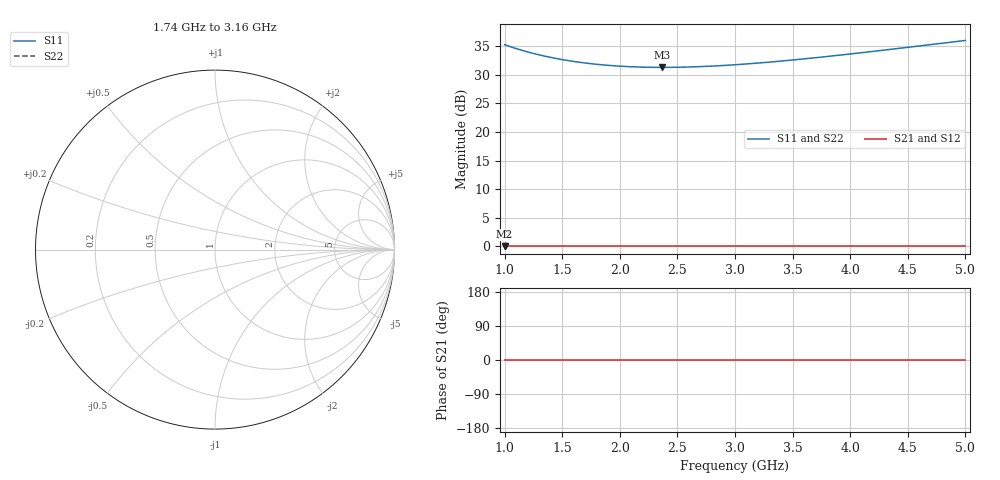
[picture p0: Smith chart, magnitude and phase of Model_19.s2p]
# GHZ S RI R 50
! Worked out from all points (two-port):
!   401 points, 1 GHz to 5 GHz, reference 50 ohm
!   highest |S21| = 0.00 dB at 1 GHz (marker M1); lowest = 0.0 dB at 1 GHz (marker M2)
!   |S21| within 3 dB of the highest: start of sweep to end of sweep
!   lowest |S11| = 31.3 dB at 2.37 GHz (marker M3)
!   |S11| at or under -10 dB: nowhere
!   |S22| runs from 31.3 to 36.0 dB; largest |S21 - S12| = 0
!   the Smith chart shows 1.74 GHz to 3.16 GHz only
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1  58.15 0  1 0  1 0  58.15 0
1.02  57.2 0  1 0  1 0  57.2 0
1.15  51.91 0  1 0  1 0  51.91 0
1.22  49.61 0  1 0  1 0  49.61 0
1.3  47.35 0  1 0  1 0  47.35 0
1.38  45.42 0  1 0  1 0  45.42 0
1.47  43.59 0  1 0  1 0  43.59 0
1.57  41.9 0  1 0  1 0  41.9 0
1.67  40.53 0  1 0  1 0  40.53 0
1.82  38.96 0  1 0  1 0  38.96 0
1.98  37.82 0  1 0  1 0  37.82 0
2.15  37.1 0  1 0  1 0  37.1 0
2.34  36.79 0  1 0  1 0  36.79 0
2.37  36.78 0  1 0  1 0  36.78 0
2.67  37.27 0  1 0  1 0  37.27 0
3  38.79 0  1 0  1 0  38.79 0
3.33  41.17 0  1 0  1 0  41.17 0
3.67  44.4 0  1 0  1 0  44.4 0
4  48.2 0  1 0  1 0  48.2 0
4.34  52.77 0  1 0  1 0  52.77 0
4.64  57.3 0  1 0  1 0  57.3 0
5  63.33 0  1 0  1 0  63.33 0
